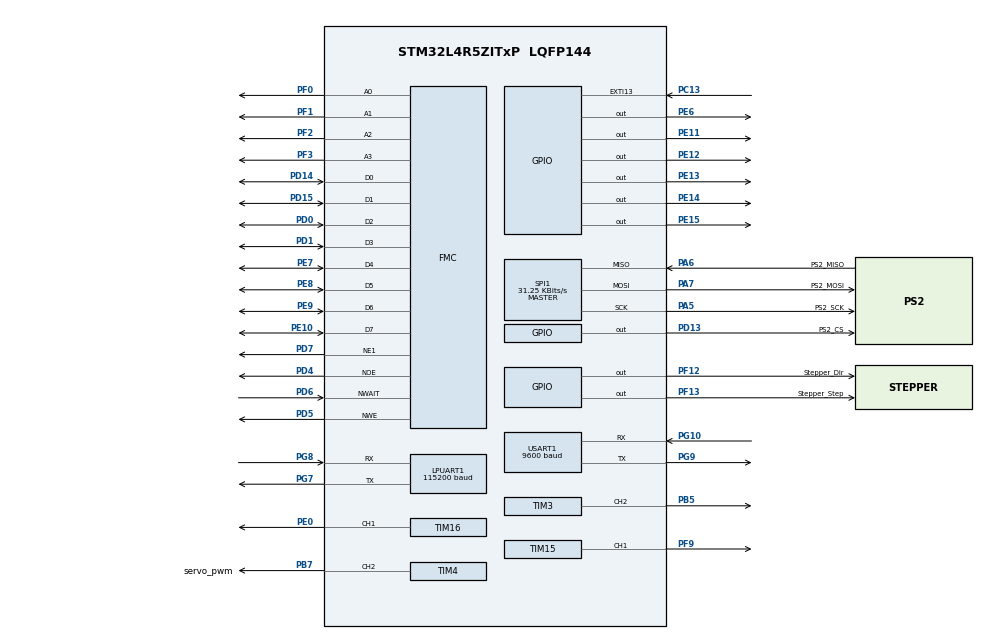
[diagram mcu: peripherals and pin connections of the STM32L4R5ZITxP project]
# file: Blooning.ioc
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FMC.WriteOperation1=FMC_WRITE_OPERATION_ENABLE
LPUART1.BaudRate=115200
LPUART1.WordLength=UART_WORDLENGTH_8B
Mcu.Family=STM32L4
Mcu.Name=STM32L4R5ZITxP
Mcu.Package=LQFP144
NVIC.EXTI15_10_IRQn=true\:0\:0\:false\:false\:true\:true\:true\:true
NVIC.PriorityGroup=NVIC_PRIORITYGROUP_4
NVIC.TIM2_IRQn=true\:0\:0\:false\:false\:true\:true\:true\:true
PA5.GPIO_Label=PS2_SCK
PA5.GPIO_PuPd=GPIO_PULLUP
PA5.Mode=Full_Duplex_Master
PA5.Signal=SPI1_SCK
PA6.GPIO_Label=PS2_MISO
PA6.GPIO_PuPd=GPIO_PULLUP
PA6.Mode=Full_Duplex_Master
PA6.Signal=SPI1_MISO
PA7.GPIO_Label=PS2_MOSI
PA7.Mode=Full_Duplex_Master
PA7.Signal=SPI1_MOSI
PB5.Signal=S_TIM3_CH2
PB7.GPIO_Label=servo_pwm
PB7.Signal=S_TIM4_CH2
PC13.GPIO_ModeDefaultEXTI=GPIO_MODE_IT_RISING
PC13.Signal=GPXTI13
PD0.Signal=FMC_D2_DA2
PD1.Signal=FMC_D3_DA3
PD13.GPIO_Label=PS2_CS
PD13.GPIO_PuPd=GPIO_PULLUP
PD13.Signal=GPIO_Output
PD14.Signal=FMC_D0_DA0
PD15.Signal=FMC_D1_DA1
PD4.Signal=FMC_NOE
PD5.Signal=FMC_NWE
PD6.GPIO_PuPd=GPIO_PULLUP
PD6.Signal=FMC_NWAIT
PD7.Mode=NorPsramChipSelect1_1
PD7.Signal=FMC_NE1
PE0.Signal=S_TIM16_CH1
PE10.Signal=FMC_D7_DA7
PE11.Signal=GPIO_Output
PE12.GPIO_PuPd=GPIO_NOPULL
PE12.Signal=GPIO_Output
PE13.GPIO_PuPd=GPIO_NOPULL
PE13.Signal=GPIO_Output
PE14.GPIO_PuPd=GPIO_NOPULL
PE14.Signal=GPIO_Output
PE15.GPIO_PuPd=GPIO_PULLDOWN
PE15.Signal=GPIO_Output
PE6.Signal=GPIO_Output
PE7.Signal=FMC_D4_DA4
PE8.Signal=FMC_D5_DA5
PE9.Signal=FMC_D6_DA6
PF0.Signal=FMC_A0
PF1.Signal=FMC_A1
PF12.GPIO_Label=Stepper_Dir
PF12.Signal=GPIO_Output
PF13.GPIO_Label=Stepper_Step
PF13.Signal=GPIO_Output
PF2.Signal=FMC_A2
PF3.Signal=FMC_A3
PF9.Signal=S_TIM15_CH1
PG10.Mode=Asynchronous
PG10.Signal=USART1_RX
PG7.Mode=Asynchronous
PG7.Signal=LPUART1_TX
PG8.Mode=Asynchronous
PG8.Signal=LPUART1_RX
PG9.Mode=Asynchronous
PG9.Signal=USART1_TX
ProjectManager.HeapSize=0x200
ProjectManager.StackSize=0x400
ProjectManager.TargetToolchain=STM32CubeIDE
RCC.HSE_VALUE=8000000
RCC.HSI48_VALUE=48000000
RCC.HSI_VALUE=16000000
RCC.LSE_VALUE=32768
RCC.MSI_VALUE=4000000
RCC.VCOOutputFreq_Value=32000000
SH.FMC_A0.0=FMC_A0,4b-a1
SH.FMC_A1.0=FMC_A1,4b-a1
SH.FMC_A2.0=FMC_A2,4b-a1
SH.FMC_A3.0=FMC_A3,4b-a1
SH.FMC_D0_DA0.0=FMC_D0,8b-d1
SH.FMC_D1_DA1.0=FMC_D1,8b-d1
SH.FMC_D2_DA2.0=FMC_D2,8b-d1
SH.FMC_D3_DA3.0=FMC_D3,8b-d1
SH.FMC_D4_DA4.0=FMC_D4,8b-d1
SH.FMC_D5_DA5.0=FMC_D5,8b-d1
SH.FMC_D6_DA6.0=FMC_D6,8b-d1
SH.FMC_D7_DA7.0=FMC_D7,8b-d1
SH.FMC_NOE.0=FMC_NOE,NorFlash1
SH.FMC_NWAIT.0=FMC_NWAIT,AsynchronousWait1
SH.FMC_NWE.0=FMC_NWE,NorFlash1
SH.S_TIM15_CH1.0=TIM15_CH1,PWM Generation1 CH1
SH.S_TIM16_CH1.0=TIM16_CH1,PWM Generation1 CH1
SH.S_TIM3_CH2.0=TIM3_CH2,PWM Generation2 CH2
SH.S_TIM4_CH2.0=TIM4_CH2,PWM Generation2 CH2
SPI1.BaudRatePrescaler=SPI_BAUDRATEPRESCALER_128
SPI1.CLKPhase=SPI_PHASE_2EDGE
SPI1.CLKPolarity=SPI_POLARITY_HIGH
SPI1.CalculateBaudRate=31.25 KBits/s
SPI1.DataSize=SPI_DATASIZE_8BIT
SPI1.Direction=SPI_DIRECTION_2LINES
SPI1.FirstBit=SPI_FIRSTBIT_LSB
SPI1.Mode=SPI_MODE_MASTER
SPI1.VirtualType=VM_MASTER
TIM15.Channel-PWM\ Generation1\ CH1=TIM_CHANNEL_1
TIM15.Period=1999
TIM15.Prescaler=39
TIM16.Channel=TIM_CHANNEL_1
TIM16.Period=1999
TIM16.Prescaler=39
TIM2.AutoReloadPreload=TIM_AUTORELOAD_PRELOAD_ENABLE
TIM3.AutoReloadPreload=TIM_AUTORELOAD_PRELOAD_ENABLE
TIM3.Channel-PWM\ Generation2\ CH2=TIM_CHANNEL_2
TIM3.Period=3999
TIM3.Pulse-PWM\ Generation2\ CH2=1000
TIM3.TIM_MasterOutputTrigger=TIM_TRGO_UPDATE
TIM3.TIM_MasterSlaveMode=TIM_MASTERSLAVEMODE_DISABLE
TIM4.Channel-PWM\ Generation2\ CH2=TIM_CHANNEL_2
TIM4.Period=1999
TIM4.Prescaler=39
USART1.BaudRate=9600
USART1.VirtualMode-Asynchronous=VM_ASYNC
VP_TIM15_VS_ClockSourceINT.Mode=Internal
VP_TIM16_VS_ClockSourceINT.Mode=Enable_Timer
VP_TIM2_VS_ClockSourceITR.Mode=TriggerSource_ITR2
VP_TIM2_VS_ControllerModeClock.Mode=Clock Mode
VP_TIM3_VS_ClockSourceINT.Mode=Internal
VP_TIM4_VS_ClockSourceINT.Mode=Internal
board=NUCLEO-L4R5ZI-P

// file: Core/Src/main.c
/* USER CODE BEGIN Header */
/**
  ******************************************************************************
  * @file           : main.c
  * @brief          : Main program body
  ******************************************************************************
  * @attention
  *
  * Copyright (c) 2025 STMicroelectronics.
  * All rights reserved.
  *
  * This software is licensed under terms that can be found in the LICENSE file
  * in the root directory of this software component.
  * If no LICENSE file comes with this software, it is provided AS-IS.
  *
  ******************************************************************************
  */
/* USER CODE END Header */
#include "main.h"

/* USER CODE BEGIN Includes */
#include "stdio.h"
#include "string.h"
#include "stepper_pwm.h"
#include "stdlib.h"
#include <stdlib.h>
/* USER CODE END Includes */

UART_HandleTypeDef hlpuart1;
UART_HandleTypeDef huart1;

SPI_HandleTypeDef hspi1;

TIM_HandleTypeDef htim2;
TIM_HandleTypeDef htim3;
TIM_HandleTypeDef htim4;
TIM_HandleTypeDef htim15;
TIM_HandleTypeDef htim16;

NOR_HandleTypeDef hnor1;

/* USER CODE BEGIN PV */
#pragma pack(1) //do not pad inside struct
struct coord{
	char color;
	uint8_t x;
	uint8_t y;
};
#pragma pack() //restore default packing

int coord_cnt;

int change_mode = 1; //Track if the mode is changed

struct coord coord_list[255];
enum TurretMode {
	AUTO_RBG, //slowest to fastest (IN GAME)
	AUTO_GBR, // fastest to slowest (IN_GAME)
	MANUAL, // use ps2 controller
	RELOAD
};

enum color {
	RED=3,GREEN=2,BLUE=1
};

int cartridge_state = 0;
int c_count = 0;
char prev_c = 0;

enum TurretMode current_mode = MANUAL;
enum TurretMode mode_before_reload;

uint8_t stepper_active = 0; //0 = stepper pwm is off, 1 = stepper pwm is on
int current_pitch = PITCH_REST;
int enter_reload_from_auto = 0;

char RBG_Prios [3] = {'R','B','G'};
char GBR_Prios [3] = {'G','B','R'};
/* USER CODE END PV */

void SystemClock_Config(void);
static void MX_GPIO_Init(void);
static void MX_LPUART1_UART_Init(void);
static void MX_TIM4_Init(void);
static void MX_SPI1_Init(void);
static void MX_USART1_UART_Init(void);
static void MX_TIM3_Init(void);
static void MX_TIM2_Init(void);
static void MX_TIM15_Init(void);
static void MX_TIM16_Init(void);
static void MX_FMC_Init(void);

/* USER CODE BEGIN 0 */

//This is a helper function, if you want to mess with the servo, use the set_pitch function
void set_tim4_ccr2(uint16_t val){
	uint32_t * tim4_ccr2 = (uint32_t *)(TIM4_ADDR + TIM_CCR2_OFFSET);
	*tim4_ccr2 &= ~CCR_MASK;
	*tim4_ccr2 |= (uint16_t) val;
}

// arg should be from 0 to 90
void set_pitch(int degrees_from_level){
        // servo is on unsidedown
        // writing it like this makes my sanity exist
        degrees_from_level = 180 - degrees_from_level;
	set_tim4_ccr2(degrees_from_level);
}

// this function is to control the angle on the servo that controls the trigger
//degrees should be 0 to 180
void set_trigger_angle(int degrees){
	int val = degrees*(SERVO_MAX-SERVO_MIN)/180 + SERVO_MIN;
	TIM15->CCR1 = val;
}

// this function is to control the angle on the servo that controls the cartridge
//degrees should be 0 to 180
void set_cartridge_angle(int degrees){
	int val = degrees*(SERVO_MAX-SERVO_MIN)/180 + SERVO_MIN;
	TIM16->CCR1 = val;
}

void read_coords(){
	unsigned char *tx_buf = "request\n";
	while(stepper_active){
		continue;
	}
	// after we are done moving give the RPI time to recompute
	HAL_UART_Transmit(&huart1, tx_buf, 8, 1000);
	uint8_t cnt_rx;
	HAL_UART_Receive(&huart1, &cnt_rx, 1, 1000);
	coord_cnt = cnt_rx;
	if(coord_cnt > 20)
		coord_cnt = 20;
	HAL_UART_Receive(&huart1, coord_list, coord_cnt*3, 500); // color, x, y

}

//INTERRUPT HANDLER
void HAL_GPIO_EXTI_Callback(uint16_t GPIO_Pin){
    if(GPIO_Pin == GPIO_PIN_13){
    	reset_prios();
        //USER BUTTON WAS PRESSED
        int speed = 50000; //button is debouncing :)
        for(int i = 0; i < speed; i++){
            continue; //can't use HAL_DELAY since SYS_Tick interrupt priority is low
        }
        if(current_mode == RELOAD){
            current_mode = mode_before_reload;
            change_mode = 1;
        }
        else{
            current_mode = (current_mode + 1) % 3; //cycle modes
            change_mode = 1; //Mode was changed so LCD needs to be updated
        }
        uint32_t *p = EXTI_ADDR 	+ EXTI_PR_OFFSET;
        *p |= (1<<13); //clear interrupt pending
    }
}

/*
 * takes x and y between 0 and 255
 */
void draw_circle(uint8_t x, uint8_t y, char c){
	enum color col;
	if(c == 'R')
		col = RED;
	else if (c == 'B')
		col = BLUE;
	else
		col = GREEN;
	uint16_t scaled_x = ((uint64_t)x*5)>>1;
	uint16_t scaled_y = ((uint64_t)y*15)>>3;
	uint8_t x_lower = (uint8_t)(scaled_x & 0xFF);
	uint8_t x_upper = (uint8_t)(scaled_x >> 8);
	uint8_t y_lower = (uint8_t)(scaled_y & 0xFF);
	uint8_t y_upper = (uint8_t)(scaled_y >> 8);

	*((uint8_t *)VGA_COLOR_ADDR) = col;
	*((uint8_t *)VGA_Y_UPPER_ADDR) = y_upper;
	*((uint8_t *)VGA_Y_LOWER_ADDR) = y_lower;
	*((uint8_t *)VGA_X_UPPER_ADDR) = x_upper;
	*((uint8_t *)VGA_X_LOWER_ADDR) = x_lower;
}

void manual_control(void){
	//TODO: make this a function lcd stuff
	//static int displayed = 1;
	if (change_mode){
		lcd_display();
	}

	printf("MODE: MANUAL \n\r");
	static uint8_t PSX_RX[21];
	static uint8_t PSX_TX[21] = {
		 0x01, 0x42, 0x00, 0x00, 0x00, 0x00, 0x00, 0x00,
		 0x00, 0x00, 0x00, 0x00, 0x00, 0x00, 0x00, 0x00,
		 0x00, 0x00, 0x00, 0x00, 0x00
	 };
   // Get state of all buttons and store it in PSX_RX (Transmission length 21)
   HAL_GPIO_WritePin(PS2_CS_GPIO_Port, PS2_CS_Pin, GPIO_PIN_RESET); // CS LOW
   HAL_SPI_TransmitReceive(&hspi1, PSX_TX, PSX_RX, 21, 10);
   HAL_GPIO_WritePin(PS2_CS_GPIO_Port, PS2_CS_Pin, GPIO_PIN_SET); // CS HIGH

   // get state of d-pad and X button
   int dpad_status = ~PSX_RX[3];
   int dpad_up = dpad_status & DPAD_UP_MASK;
   int dpad_down = dpad_status & DPAD_DOWN_MASK;
   int dpad_left = dpad_status & DPAD_LEFT_MASK;
   int dpad_right = dpad_status & DPAD_RIGHT_MASK;

   int button_status = ~PSX_RX[4];
   int button_x = button_status & BUTTON_X_MASK;
   int button_y = button_status & BUTTON_Y_MASK;

   //note that they will not be 1 or 0, they will be 0 or positive int
   if(dpad_up){
	   if(current_pitch < PITCH_MAX){
		   current_pitch+=1;
		   set_pitch(current_pitch);
		   HAL_Delay(10);
	   }

   }
   if(dpad_down){
	   if(current_pitch > PITCH_MIN){
		   current_pitch-=1;
		   set_pitch(current_pitch);
		   HAL_Delay(10);
	   }

   }
   if(dpad_left){
	   HAL_GPIO_WritePin(Stepper_Dir_GPIO_Port,Stepper_Dir_Pin,STEP_CW); //set the direction of the step
	   start_pwm_N_steps(DPAD_STEPS);
   }
   if(dpad_right){
	   HAL_GPIO_WritePin(Stepper_Dir_GPIO_Port,Stepper_Dir_Pin,STEP_CCW); //set the direction of the step
	   start_pwm_N_steps(DPAD_STEPS);
   }

   if(button_x){
	   shoot();
	   HAL_Delay(400);
   }
    if (button_y) {
        reload();
        HAL_Delay(400);
    }

}

// Function to start pwm of stepper motor for N steps
// see TIM2_IRQHandler for interrupt handler related to this functionality
void start_pwm_N_steps(uint32_t N){
	if(N == 0){
		return; //this would explode
	}
	//stop pwm
	HAL_TIM_PWM_Stop(&htim3, TIM_CHANNEL_2);
	HAL_TIM_Base_Stop(&htim2);
	__HAL_TIM_SetCounter(&htim2, 0);

    // clear any pending interrupts
    __HAL_TIM_DISABLE_IT(&htim2, TIM_IT_UPDATE);
    __HAL_TIM_CLEAR_FLAG(&htim2, TIM_SR_UIF);

	//configure tim2 to count N periods
	htim2.Instance = TIM2;
	htim2.Init.Prescaler = 0;
	htim2.Init.CounterMode = TIM_COUNTERMODE_UP;
	htim2.Init.Period = N;  // Interrupt after N+1 periods
	htim2.Init.AutoReloadPreload = TIM_AUTORELOAD_PRELOAD_ENABLE;
	if(HAL_TIM_Base_Init(&htim2) != HAL_OK){
		Error_Handler(); //debug
	}

	// enable tim2 interrupt that will turn pwm off
	HAL_NVIC_SetPriority(TIM2_IRQn, 0, 0);
	__HAL_TIM_ENABLE_IT(&htim2, TIM_IT_UPDATE);
	HAL_NVIC_EnableIRQ(TIM2_IRQn);

	// start stepper pwm
	stepper_active = 1;
	HAL_TIM_PWM_Start(&htim3, TIM_CHANNEL_2);
	HAL_TIM_Base_Start(&htim2);

	//debug force update
	//TIM2->EGR = TIM_EGR_UG;
}

// Use macro MOTOR_FULL_ROTATION_STEPS
int calculate_rotation(int x, int* dir){
	if(x < CAMERA_MID){
		*dir = STEP_CW;
	}
	else{
		*dir = STEP_CCW;
	}
	int offset = abs(x-CAMERA_MID);
	if(offset < ON_TARGET){
		return offset;
	}

	float degrees_to_step = 45/(1 + pow(2.7182, (-0.1*(offset-54))));
	int num_steps = MOTOR_FULL_ROTATION_STEPS*degrees_to_step/360;
	return num_steps/3;
}

//should be negative is appropriate
int calculate_pitch_change(int y){
    int diff = (CAMERA_MID - y);
    float scale = 0.08*(PITCH_MAX-PITCH_MIN)/(1+pow(2.7182, -0.05*(abs(diff)-39)));
    int res = 0;
    if (diff > 5) {
        // Move up
        res = current_pitch >= PITCH_MAX ? 0 : (int)scale;
    }
    else if(diff < -5){
        // Move down
        res = current_pitch <= PITCH_MIN ? 0 : -(int)(0.8*scale);
    }
    return res;
}

void aim_at_coords(int x, int y, char c){
	//calculate rotation

	draw_circle(x, y, c);

    static int locked = 0;
    if (abs(x - CAMERA_MID) <= H_SHOOT_RAD && abs(y - CAMERA_MID) <= V_SHOOT_RAD ) {
        locked++;
        if (locked >3) {
            shoot();
            locked = 0;
        }
        return;
    }
    locked = 0;

	int dir;
	int n_steps = calculate_rotation(x,&dir);
	printf("nsteps = %d \n\r",n_steps);
	current_pitch += calculate_pitch_change(y);

	//aim
	HAL_GPIO_WritePin(Stepper_Dir_GPIO_Port,Stepper_Dir_Pin,dir); //set the direction of the step
	if(n_steps){
		start_pwm_N_steps(n_steps);
	}
	set_pitch(current_pitch);
}

int color_lock(char c){
	//if color lock then return
	if (c != prev_c){
		if (c_count >= 8){
			c_count = 0;
			prev_c = c;
			return 1;
		}
		return 0;
	}
	return 1;
}

void automatic_mode(){
	if(change_mode){
		lcd_display();
	}

	read_coords();
	printf("N coords received = %d \n\r", coord_cnt);
	for(int prio = 0; prio < sizeof(RBG_Prios); prio++){
		for(int i = 0; i < coord_cnt; i++){
			printf("color = %c, x = %d, y = %d \n\r ",coord_list[i].color,coord_list[i].x,coord_list[i].y);
			switch (current_mode){
			case AUTO_GBR:
				if(coord_list[i].color == GBR_Prios[prio]){
					printf("aiming\n\r");
					if(!color_lock(coord_list[i].color)) continue;
					aim_at_coords(coord_list[i].x + CAMERA_X_OFFSET,coord_list[i].y, coord_list[i].color);
					goto done_aiming;
				}
				break;
			case AUTO_RBG:
				if(coord_list[i].color == RBG_Prios[prio]){
					printf("aiming\n\r");
					if(!color_lock(coord_list[i].color)) continue;
					aim_at_coords(coord_list[i].x + CAMERA_X_OFFSET,coord_list[i].y, coord_list[i].color);
					goto done_aiming;
				}
				break;
			default:
				printf("turret mode error\n\r");
				return;
			}

		}
	}
done_aiming:
	static int zeros_seen = 0;
	if(coord_cnt == 0){ // no blooners on camera, reset priorities
		zeros_seen++;
		if (zeros_seen == 10){
			reset_prios();
			zeros_seen = 0;
		}
	}
	else{
		zeros_seen = 0;
		int need_to_count = 1;
		for (int i = 0; i < coord_cnt; i++){
			if (coord_list[i].color == prev_c){
				need_to_count = 0;
			}
		}
		if (need_to_count){
			c_count++;
		}
	}

	coord_cnt = 0;
	memset(coord_list, 0, sizeof(coord_list));
	HAL_Delay(200);
}

void reload(void){
    mode_before_reload = current_mode;
    current_mode = RELOAD;
    set_cartridge_angle(CARTRIDGE_START);
    int bands = MAX_RUBBER_BANDS - cartridge_state;
    char l2[100];
    snprintf(l2, sizeof(l2), "Bands Left: %d", bands);
    LCD_WriteLines("Mode: RELOAD", l2);
    cartridge_state = 0;
    reset_prios();
    return;
}

void shoot(void){
	//Shoot
	set_trigger_angle(TRIGGER_SHOOT);
	HAL_Delay(1100);
	set_trigger_angle(TRIGGER_REST);
	HAL_Delay(1100);

	//Get next rubber band in position
	cartridge_state++;
	if(cartridge_state == MAX_RUBBER_BANDS){ //if out of bands, reload
            reload();
            return;
	}
	//TODO make this a function
	lcd_display();

	set_cartridge_angle(CARTRIDGE_ANGLE*cartridge_state+CARTRIDGE_OFFSET);
	rotate_prios();
	prev_c = 0;
	c_count = 0;
	return;
}

void reload_done_check(void){
	static uint8_t PSX_RX[21];
	static uint8_t PSX_TX[21] = {
		 0x01, 0x42, 0x00, 0x00, 0x00, 0x00, 0x00, 0x00,
		 0x00, 0x00, 0x00, 0x00, 0x00, 0x00, 0x00, 0x00,
		 0x00, 0x00, 0x00, 0x00, 0x00
	 };
     // Get state of all buttons and store it in PSX_RX (Transmission length 21)
     HAL_GPIO_WritePin(PS2_CS_GPIO_Port, PS2_CS_Pin, GPIO_PIN_RESET); // CS LOW
     HAL_SPI_TransmitReceive(&hspi1, PSX_TX, PSX_RX, 21, 10);
     HAL_GPIO_WritePin(PS2_CS_GPIO_Port, PS2_CS_Pin, GPIO_PIN_SET); // CS HIGH

     int button_status = ~PSX_RX[4];
     int button_y = button_status & BUTTON_Y_MASK;

	 if(button_y){
		HAL_Delay(200);
		current_mode = mode_before_reload;
		change_mode = 1;
	 }
	 return;
}

void lcd_display(void){
	if (current_mode == MANUAL){ //UPDATING RUBBERBAND COUNTS
		int bands = MAX_RUBBER_BANDS - cartridge_state;
		char l2[100];
		snprintf(l2, sizeof(l2), "Bands Left: %d", bands);
		LCD_WriteLines("Mode: MANUAL", l2);
	}
	if(current_mode == AUTO_GBR){
		int bands = MAX_RUBBER_BANDS - cartridge_state;
		char l2[100];
		snprintf(l2, sizeof(l2), "Bands Left: %d", bands);
		LCD_WriteLines("Mode: GBR", l2);
	}
	if(current_mode == AUTO_RBG){
		int bands = MAX_RUBBER_BANDS - cartridge_state;
		char l2[100];
		snprintf(l2, sizeof(l2), "Bands Left: %d", bands);
		LCD_WriteLines("Mode: RBG", l2);
	}
	change_mode = 0;
}

void reset_prios(void){
	GBR_Prios[0] = 'G';
	GBR_Prios[1] = 'B';
	GBR_Prios[2] = 'R';
	RBG_Prios[0] = 'R';
	RBG_Prios[1] = 'B';
	RBG_Prios[2] = 'G';
}

void rotate_prios(void){
	char tmp = GBR_Prios[0];
	GBR_Prios[0] = GBR_Prios[1];
	GBR_Prios[1] = GBR_Prios[2];
	GBR_Prios[2] = tmp;

	tmp = RBG_Prios[0];
	RBG_Prios[0] = RBG_Prios[1];
	RBG_Prios[1] = RBG_Prios[2];
	RBG_Prios[2] = tmp;
}

/* USER CODE END 0 */

int main(void)
{

  /* MCU Configuration--------------------------------------------------------*/

  /* Reset of all peripherals, Initializes the Flash interface and the Systick. */
  HAL_Init();

  /* Configure the system clock */
  SystemClock_Config();

  /* Initialize all configured peripherals */
  MX_GPIO_Init();
  MX_LPUART1_UART_Init();
  MX_TIM4_Init();
  MX_SPI1_Init();
  MX_USART1_UART_Init();
  MX_TIM3_Init();
  MX_TIM2_Init();
  MX_TIM15_Init();
  MX_TIM16_Init();
  MX_FMC_Init();
  /* USER CODE BEGIN 2 */
  LCD_Init();
  {
  TIM_ClockConfigTypeDef sClockSourceConfig = {0};
  htim3.Init.Prescaler = STEPPER_PRESCALER;
  htim3.Init.Period = STEPPER_SPEED;
  if (HAL_TIM_Base_Init(&htim3) != HAL_OK)
  {
	  Error_Handler();
  }
  	  sClockSourceConfig.ClockSource = TIM_CLOCKSOURCE_INTERNAL;
  if (HAL_TIM_ConfigClockSource(&htim3, &sClockSourceConfig) != HAL_OK)
  {
      Error_Handler();
  }
  }
  /* USER CODE END 2 */

  /* Infinite loop */
  /* USER CODE BEGIN WHILE */
  HAL_TIM_PWM_Start(&htim4, TIM_CHANNEL_2); //servo pwm
  HAL_TIM_PWM_Start(&htim15, TIM_CHANNEL_1); //trigger pwm
  HAL_TIM_PWM_Start(&htim16, TIM_CHANNEL_1); //cartridge pwm
  //initialize the servo with to be level with ground
  set_pitch(PITCH_REST);
  set_trigger_angle(TRIGGER_REST);
  set_cartridge_angle(CARTRIDGE_START);

  //set_cartridge_angle(5);
  while (1)
  {
	  if(current_mode == MANUAL){
		  manual_control();
	  }
	  else if (current_mode == RELOAD){
		  reload_done_check();
	  }
	  else if (current_mode == AUTO_GBR || current_mode == AUTO_RBG){
		  automatic_mode();
	  }
    /* USER CODE END WHILE */

  }
}

void SystemClock_Config(void)
{
  RCC_OscInitTypeDef RCC_OscInitStruct = {0};
  RCC_ClkInitTypeDef RCC_ClkInitStruct = {0};

  /** Configure the main internal regulator output voltage
  */
  if (HAL_PWREx_ControlVoltageScaling(PWR_REGULATOR_VOLTAGE_SCALE1) != HAL_OK)
  {
    Error_Handler();
  }

  /** Initializes the RCC Oscillators according to the specified parameters
  * in the RCC_OscInitTypeDef structure.
  */
  RCC_OscInitStruct.OscillatorType = RCC_OSCILLATORTYPE_MSI;
  RCC_OscInitStruct.MSIState = RCC_MSI_ON;
  RCC_OscInitStruct.MSICalibrationValue = 0;
  RCC_OscInitStruct.MSIClockRange = RCC_MSIRANGE_6;
  RCC_OscInitStruct.PLL.PLLState = RCC_PLL_NONE;
  if (HAL_RCC_OscConfig(&RCC_OscInitStruct) != HAL_OK)
  {
    Error_Handler();
  }

  /** Initializes the CPU, AHB and APB buses clocks
  */
  RCC_ClkInitStruct.ClockType = RCC_CLOCKTYPE_HCLK|RCC_CLOCKTYPE_SYSCLK
                              |RCC_CLOCKTYPE_PCLK1|RCC_CLOCKTYPE_PCLK2;
  RCC_ClkInitStruct.SYSCLKSource = RCC_SYSCLKSOURCE_MSI;
  RCC_ClkInitStruct.AHBCLKDivider = RCC_SYSCLK_DIV1;
  RCC_ClkInitStruct.APB1CLKDivider = RCC_HCLK_DIV1;
  RCC_ClkInitStruct.APB2CLKDivider = RCC_HCLK_DIV1;

  if (HAL_RCC_ClockConfig(&RCC_ClkInitStruct, FLASH_LATENCY_0) != HAL_OK)
  {
    Error_Handler();
  }
}

static void MX_LPUART1_UART_Init(void)
{

  hlpuart1.Instance = LPUART1;
  hlpuart1.Init.BaudRate = 115200;
  hlpuart1.Init.WordLength = UART_WORDLENGTH_8B;
  hlpuart1.Init.StopBits = UART_STOPBITS_1;
  hlpuart1.Init.Parity = UART_PARITY_NONE;
  hlpuart1.Init.Mode = UART_MODE_TX_RX;
  hlpuart1.Init.HwFlowCtl = UART_HWCONTROL_NONE;
  hlpuart1.Init.OneBitSampling = UART_ONE_BIT_SAMPLE_DISABLE;
  hlpuart1.Init.ClockPrescaler = UART_PRESCALER_DIV1;
  hlpuart1.AdvancedInit.AdvFeatureInit = UART_ADVFEATURE_NO_INIT;
  hlpuart1.FifoMode = UART_FIFOMODE_DISABLE;
  if (HAL_UART_Init(&hlpuart1) != HAL_OK)
  {
    Error_Handler();
  }
  if (HAL_UARTEx_SetTxFifoThreshold(&hlpuart1, UART_TXFIFO_THRESHOLD_1_8) != HAL_OK)
  {
    Error_Handler();
  }
  if (HAL_UARTEx_SetRxFifoThreshold(&hlpuart1, UART_RXFIFO_THRESHOLD_1_8) != HAL_OK)
  {
    Error_Handler();
  }
  if (HAL_UARTEx_DisableFifoMode(&hlpuart1) != HAL_OK)
  {
    Error_Handler();
  }

}

static void MX_USART1_UART_Init(void)
{

  huart1.Instance = USART1;
  huart1.Init.BaudRate = 9600;
  huart1.Init.WordLength = UART_WORDLENGTH_8B;
  huart1.Init.StopBits = UART_STOPBITS_1;
  huart1.Init.Parity = UART_PARITY_NONE;
  huart1.Init.Mode = UART_MODE_TX_RX;
  huart1.Init.HwFlowCtl = UART_HWCONTROL_NONE;
  huart1.Init.OverSampling = UART_OVERSAMPLING_16;
  huart1.Init.OneBitSampling = UART_ONE_BIT_SAMPLE_DISABLE;
  huart1.Init.ClockPrescaler = UART_PRESCALER_DIV1;
  huart1.AdvancedInit.AdvFeatureInit = UART_ADVFEATURE_NO_INIT;
  if (HAL_UART_Init(&huart1) != HAL_OK)
  {
    Error_Handler();
  }
  if (HAL_UARTEx_SetTxFifoThreshold(&huart1, UART_TXFIFO_THRESHOLD_1_8) != HAL_OK)
  {
    Error_Handler();
  }
  if (HAL_UARTEx_SetRxFifoThreshold(&huart1, UART_RXFIFO_THRESHOLD_1_8) != HAL_OK)
  {
    Error_Handler();
  }
  if (HAL_UARTEx_DisableFifoMode(&huart1) != HAL_OK)
  {
    Error_Handler();
  }

}

static void MX_SPI1_Init(void)
{

  /* SPI1 parameter configuration*/
  hspi1.Instance = SPI1;
  hspi1.Init.Mode = SPI_MODE_MASTER;
  hspi1.Init.Direction = SPI_DIRECTION_2LINES;
  hspi1.Init.DataSize = SPI_DATASIZE_8BIT;
  hspi1.Init.CLKPolarity = SPI_POLARITY_HIGH;
  hspi1.Init.CLKPhase = SPI_PHASE_2EDGE;
  hspi1.Init.NSS = SPI_NSS_SOFT;
  hspi1.Init.BaudRatePrescaler = SPI_BAUDRATEPRESCALER_128;
  hspi1.Init.FirstBit = SPI_FIRSTBIT_LSB;
  hspi1.Init.TIMode = SPI_TIMODE_DISABLE;
  hspi1.Init.CRCCalculation = SPI_CRCCALCULATION_DISABLE;
  hspi1.Init.CRCPolynomial = 7;
  hspi1.Init.CRCLength = SPI_CRC_LENGTH_DATASIZE;
  hspi1.Init.NSSPMode = SPI_NSS_PULSE_DISABLE;
  if (HAL_SPI_Init(&hspi1) != HAL_OK)
  {
    Error_Handler();
  }

}

static void MX_TIM2_Init(void)
{

  TIM_SlaveConfigTypeDef sSlaveConfig = {0};
  TIM_MasterConfigTypeDef sMasterConfig = {0};

  htim2.Instance = TIM2;
  htim2.Init.Prescaler = 0;
  htim2.Init.CounterMode = TIM_COUNTERMODE_UP;
  htim2.Init.Period = 4294967295;
  htim2.Init.ClockDivision = TIM_CLOCKDIVISION_DIV1;
  htim2.Init.AutoReloadPreload = TIM_AUTORELOAD_PRELOAD_ENABLE;
  if (HAL_TIM_Base_Init(&htim2) != HAL_OK)
  {
    Error_Handler();
  }
  sSlaveConfig.SlaveMode = TIM_SLAVEMODE_EXTERNAL1;
  sSlaveConfig.InputTrigger = TIM_TS_ITR2;
  if (HAL_TIM_SlaveConfigSynchro(&htim2, &sSlaveConfig) != HAL_OK)
  {
    Error_Handler();
  }
  sMasterConfig.MasterOutputTrigger = TIM_TRGO_RESET;
  sMasterConfig.MasterSlaveMode = TIM_MASTERSLAVEMODE_DISABLE;
  if (HAL_TIMEx_MasterConfigSynchronization(&htim2, &sMasterConfig) != HAL_OK)
  {
    Error_Handler();
  }

}

static void MX_TIM3_Init(void)
{

  TIM_ClockConfigTypeDef sClockSourceConfig = {0};
  TIM_MasterConfigTypeDef sMasterConfig = {0};
  TIM_OC_InitTypeDef sConfigOC = {0};

  htim3.Instance = TIM3;
  htim3.Init.Prescaler = 0;
  htim3.Init.CounterMode = TIM_COUNTERMODE_UP;
  htim3.Init.Period = 3999;
  htim3.Init.ClockDivision = TIM_CLOCKDIVISION_DIV1;
  htim3.Init.AutoReloadPreload = TIM_AUTORELOAD_PRELOAD_ENABLE;
  if (HAL_TIM_Base_Init(&htim3) != HAL_OK)
  {
    Error_Handler();
  }
  sClockSourceConfig.ClockSource = TIM_CLOCKSOURCE_INTERNAL;
  if (HAL_TIM_ConfigClockSource(&htim3, &sClockSourceConfig) != HAL_OK)
  {
    Error_Handler();
  }
  if (HAL_TIM_PWM_Init(&htim3) != HAL_OK)
  {
    Error_Handler();
  }
  sMasterConfig.MasterOutputTrigger = TIM_TRGO_UPDATE;
  sMasterConfig.MasterSlaveMode = TIM_MASTERSLAVEMODE_DISABLE;
  if (HAL_TIMEx_MasterConfigSynchronization(&htim3, &sMasterConfig) != HAL_OK)
  {
    Error_Handler();
  }
  sConfigOC.OCMode = TIM_OCMODE_PWM1;
  sConfigOC.Pulse = 1000;
  sConfigOC.OCPolarity = TIM_OCPOLARITY_HIGH;
  sConfigOC.OCFastMode = TIM_OCFAST_DISABLE;
  if (HAL_TIM_PWM_ConfigChannel(&htim3, &sConfigOC, TIM_CHANNEL_2) != HAL_OK)
  {
    Error_Handler();
  }
  HAL_TIM_MspPostInit(&htim3);

}

static void MX_TIM4_Init(void)
{

  TIM_ClockConfigTypeDef sClockSourceConfig = {0};
  TIM_MasterConfigTypeDef sMasterConfig = {0};
  TIM_OC_InitTypeDef sConfigOC = {0};

  htim4.Instance = TIM4;
  htim4.Init.Prescaler = 39;
  htim4.Init.CounterMode = TIM_COUNTERMODE_UP;
  htim4.Init.Period = 1999;
  htim4.Init.ClockDivision = TIM_CLOCKDIVISION_DIV1;
  htim4.Init.AutoReloadPreload = TIM_AUTORELOAD_PRELOAD_DISABLE;
  if (HAL_TIM_Base_Init(&htim4) != HAL_OK)
  {
    Error_Handler();
  }
  sClockSourceConfig.ClockSource = TIM_CLOCKSOURCE_INTERNAL;
  if (HAL_TIM_ConfigClockSource(&htim4, &sClockSourceConfig) != HAL_OK)
  {
    Error_Handler();
  }
  if (HAL_TIM_PWM_Init(&htim4) != HAL_OK)
  {
    Error_Handler();
  }
  sMasterConfig.MasterOutputTrigger = TIM_TRGO_RESET;
  sMasterConfig.MasterSlaveMode = TIM_MASTERSLAVEMODE_DISABLE;
  if (HAL_TIMEx_MasterConfigSynchronization(&htim4, &sMasterConfig) != HAL_OK)
  {
    Error_Handler();
  }
  sConfigOC.OCMode = TIM_OCMODE_PWM1;
  sConfigOC.Pulse = 0;
  sConfigOC.OCPolarity = TIM_OCPOLARITY_HIGH;
  sConfigOC.OCFastMode = TIM_OCFAST_DISABLE;
  if (HAL_TIM_PWM_ConfigChannel(&htim4, &sConfigOC, TIM_CHANNEL_2) != HAL_OK)
  {
    Error_Handler();
  }
  HAL_TIM_MspPostInit(&htim4);

}

static void MX_TIM15_Init(void)
{

  TIM_ClockConfigTypeDef sClockSourceConfig = {0};
  TIM_MasterConfigTypeDef sMasterConfig = {0};
  TIM_OC_InitTypeDef sConfigOC = {0};
  TIM_BreakDeadTimeConfigTypeDef sBreakDeadTimeConfig = {0};

  htim15.Instance = TIM15;
  htim15.Init.Prescaler = 39;
  htim15.Init.CounterMode = TIM_COUNTERMODE_UP;
  htim15.Init.Period = 1999;
  htim15.Init.ClockDivision = TIM_CLOCKDIVISION_DIV1;
  htim15.Init.RepetitionCounter = 0;
  htim15.Init.AutoReloadPreload = TIM_AUTORELOAD_PRELOAD_DISABLE;
  if (HAL_TIM_Base_Init(&htim15) != HAL_OK)
  {
    Error_Handler();
  }
  sClockSourceConfig.ClockSource = TIM_CLOCKSOURCE_INTERNAL;
  if (HAL_TIM_ConfigClockSource(&htim15, &sClockSourceConfig) != HAL_OK)
  {
    Error_Handler();
  }
  if (HAL_TIM_PWM_Init(&htim15) != HAL_OK)
  {
    Error_Handler();
  }
  sMasterConfig.MasterOutputTrigger = TIM_TRGO_RESET;
  sMasterConfig.MasterSlaveMode = TIM_MASTERSLAVEMODE_DISABLE;
  if (HAL_TIMEx_MasterConfigSynchronization(&htim15, &sMasterConfig) != HAL_OK)
  {
    Error_Handler();
  }
  sConfigOC.OCMode = TIM_OCMODE_PWM1;
  sConfigOC.Pulse = 0;
  sConfigOC.OCPolarity = TIM_OCPOLARITY_HIGH;
  sConfigOC.OCNPolarity = TIM_OCNPOLARITY_HIGH;
  sConfigOC.OCFastMode = TIM_OCFAST_DISABLE;
  sConfigOC.OCIdleState = TIM_OCIDLESTATE_RESET;
  sConfigOC.OCNIdleState = TIM_OCNIDLESTATE_RESET;
  if (HAL_TIM_PWM_ConfigChannel(&htim15, &sConfigOC, TIM_CHANNEL_1) != HAL_OK)
  {
    Error_Handler();
  }
  sBreakDeadTimeConfig.OffStateRunMode = TIM_OSSR_DISABLE;
  sBreakDeadTimeConfig.OffStateIDLEMode = TIM_OSSI_DISABLE;
  sBreakDeadTimeConfig.LockLevel = TIM_LOCKLEVEL_OFF;
  sBreakDeadTimeConfig.DeadTime = 0;
  sBreakDeadTimeConfig.BreakState = TIM_BREAK_DISABLE;
  sBreakDeadTimeConfig.BreakPolarity = TIM_BREAKPOLARITY_HIGH;
  sBreakDeadTimeConfig.AutomaticOutput = TIM_AUTOMATICOUTPUT_DISABLE;
  if (HAL_TIMEx_ConfigBreakDeadTime(&htim15, &sBreakDeadTimeConfig) != HAL_OK)
  {
    Error_Handler();
  }
  HAL_TIM_MspPostInit(&htim15);

}

static void MX_TIM16_Init(void)
{

  TIM_OC_InitTypeDef sConfigOC = {0};
  TIM_BreakDeadTimeConfigTypeDef sBreakDeadTimeConfig = {0};

  htim16.Instance = TIM16;
  htim16.Init.Prescaler = 39;
  htim16.Init.CounterMode = TIM_COUNTERMODE_UP;
  htim16.Init.Period = 1999;
  htim16.Init.ClockDivision = TIM_CLOCKDIVISION_DIV1;
  htim16.Init.RepetitionCounter = 0;
  htim16.Init.AutoReloadPreload = TIM_AUTORELOAD_PRELOAD_DISABLE;
  if (HAL_TIM_Base_Init(&htim16) != HAL_OK)
  {
    Error_Handler();
  }
  if (HAL_TIM_PWM_Init(&htim16) != HAL_OK)
  {
    Error_Handler();
  }
  sConfigOC.OCMode = TIM_OCMODE_PWM1;
  sConfigOC.Pulse = 0;
  sConfigOC.OCPolarity = TIM_OCPOLARITY_HIGH;
  sConfigOC.OCNPolarity = TIM_OCNPOLARITY_HIGH;
  sConfigOC.OCFastMode = TIM_OCFAST_DISABLE;
  sConfigOC.OCIdleState = TIM_OCIDLESTATE_RESET;
  sConfigOC.OCNIdleState = TIM_OCNIDLESTATE_RESET;
  if (HAL_TIM_PWM_ConfigChannel(&htim16, &sConfigOC, TIM_CHANNEL_1) != HAL_OK)
  {
    Error_Handler();
  }
  sBreakDeadTimeConfig.OffStateRunMode = TIM_OSSR_DISABLE;
  sBreakDeadTimeConfig.OffStateIDLEMode = TIM_OSSI_DISABLE;
  sBreakDeadTimeConfig.LockLevel = TIM_LOCKLEVEL_OFF;
  sBreakDeadTimeConfig.DeadTime = 0;
  sBreakDeadTimeConfig.BreakState = TIM_BREAK_DISABLE;
  sBreakDeadTimeConfig.BreakPolarity = TIM_BREAKPOLARITY_HIGH;
  sBreakDeadTimeConfig.AutomaticOutput = TIM_AUTOMATICOUTPUT_DISABLE;
  if (HAL_TIMEx_ConfigBreakDeadTime(&htim16, &sBreakDeadTimeConfig) != HAL_OK)
  {
    Error_Handler();
  }
  HAL_TIM_MspPostInit(&htim16);

}

/* FMC initialization function */
static void MX_FMC_Init(void)
{

  FMC_NORSRAM_TimingTypeDef Timing = {0};

  /** Perform the NOR1 memory initialization sequence
  */
  hnor1.Instance = FMC_NORSRAM_DEVICE;
  hnor1.Extended = FMC_NORSRAM_EXTENDED_DEVICE;
  /* hnor1.Init */
  hnor1.Init.NSBank = FMC_NORSRAM_BANK1;
  hnor1.Init.DataAddressMux = FMC_DATA_ADDRESS_MUX_DISABLE;
  hnor1.Init.MemoryType = FMC_MEMORY_TYPE_NOR;
  hnor1.Init.MemoryDataWidth = FMC_NORSRAM_MEM_BUS_WIDTH_8;
  hnor1.Init.BurstAccessMode = FMC_BURST_ACCESS_MODE_DISABLE;
  hnor1.Init.WaitSignalPolarity = FMC_WAIT_SIGNAL_POLARITY_LOW;
  hnor1.Init.WaitSignalActive = FMC_WAIT_TIMING_BEFORE_WS;
  hnor1.Init.WriteOperation = FMC_WRITE_OPERATION_ENABLE;
  hnor1.Init.WaitSignal = FMC_WAIT_SIGNAL_DISABLE;
  hnor1.Init.ExtendedMode = FMC_EXTENDED_MODE_DISABLE;
  hnor1.Init.AsynchronousWait = FMC_ASYNCHRONOUS_WAIT_ENABLE;
  hnor1.Init.WriteBurst = FMC_WRITE_BURST_DISABLE;
  hnor1.Init.ContinuousClock = FMC_CONTINUOUS_CLOCK_SYNC_ONLY;
  hnor1.Init.WriteFifo = FMC_WRITE_FIFO_ENABLE;
  hnor1.Init.NBLSetupTime = 0;
  hnor1.Init.PageSize = FMC_PAGE_SIZE_NONE;
  /* Timing */
  Timing.AddressSetupTime = 15;
  Timing.AddressHoldTime = 15;
  Timing.DataSetupTime = 255;
  Timing.DataHoldTime = 0;
  Timing.BusTurnAroundDuration = 15;
  Timing.CLKDivision = 16;
  Timing.DataLatency = 17;
  Timing.AccessMode = FMC_ACCESS_MODE_A;
  /* ExtTiming */

  if (HAL_NOR_Init(&hnor1, &Timing, NULL) != HAL_OK)
  {
    Error_Handler( );
  }

}

static void MX_GPIO_Init(void)
{
  GPIO_InitTypeDef GPIO_InitStruct = {0};

  /* GPIO Ports Clock Enable */
  __HAL_RCC_GPIOE_CLK_ENABLE();
  __HAL_RCC_GPIOC_CLK_ENABLE();
  __HAL_RCC_GPIOF_CLK_ENABLE();
  __HAL_RCC_GPIOA_CLK_ENABLE();
  __HAL_RCC_GPIOD_CLK_ENABLE();
  __HAL_RCC_GPIOG_CLK_ENABLE();
  HAL_PWREx_EnableVddIO2();
  __HAL_RCC_GPIOB_CLK_ENABLE();

  /*Configure GPIO pin Output Level */
  HAL_GPIO_WritePin(GPIOE, GPIO_PIN_6|GPIO_PIN_11|GPIO_PIN_12|GPIO_PIN_13
                          |GPIO_PIN_14|GPIO_PIN_15, GPIO_PIN_RESET);

  /*Configure GPIO pin Output Level */
  HAL_GPIO_WritePin(GPIOF, Stepper_Dir_Pin|Stepper_Step_Pin, GPIO_PIN_RESET);

  /*Configure GPIO pin Output Level */
  HAL_GPIO_WritePin(PS2_CS_GPIO_Port, PS2_CS_Pin, GPIO_PIN_RESET);

  /*Configure GPIO pins : PE6 PE11 PE12 PE13
                           PE14 */
  GPIO_InitStruct.Pin = GPIO_PIN_6|GPIO_PIN_11|GPIO_PIN_12|GPIO_PIN_13
                          |GPIO_PIN_14;
  GPIO_InitStruct.Mode = GPIO_MODE_OUTPUT_PP;
  GPIO_InitStruct.Pull = GPIO_NOPULL;
  GPIO_InitStruct.Speed = GPIO_SPEED_FREQ_LOW;
  HAL_GPIO_Init(GPIOE, &GPIO_InitStruct);

  /*Configure GPIO pin : PC13 */
  GPIO_InitStruct.Pin = GPIO_PIN_13;
  GPIO_InitStruct.Mode = GPIO_MODE_IT_RISING;
  GPIO_InitStruct.Pull = GPIO_NOPULL;
  HAL_GPIO_Init(GPIOC, &GPIO_InitStruct);

  /*Configure GPIO pins : Stepper_Dir_Pin Stepper_Step_Pin */
  GPIO_InitStruct.Pin = Stepper_Dir_Pin|Stepper_Step_Pin;
  GPIO_InitStruct.Mode = GPIO_MODE_OUTPUT_PP;
  GPIO_InitStruct.Pull = GPIO_NOPULL;
  GPIO_InitStruct.Speed = GPIO_SPEED_FREQ_LOW;
  HAL_GPIO_Init(GPIOF, &GPIO_InitStruct);

  /*Configure GPIO pin : PE15 */
  GPIO_InitStruct.Pin = GPIO_PIN_15;
  GPIO_InitStruct.Mode = GPIO_MODE_OUTPUT_PP;
  GPIO_InitStruct.Pull = GPIO_PULLDOWN;
  GPIO_InitStruct.Speed = GPIO_SPEED_FREQ_LOW;
  HAL_GPIO_Init(GPIOE, &GPIO_InitStruct);

  /*Configure GPIO pin : PS2_CS_Pin */
  GPIO_InitStruct.Pin = PS2_CS_Pin;
  GPIO_InitStruct.Mode = GPIO_MODE_OUTPUT_PP;
  GPIO_InitStruct.Pull = GPIO_PULLUP;
  GPIO_InitStruct.Speed = GPIO_SPEED_FREQ_LOW;
  HAL_GPIO_Init(PS2_CS_GPIO_Port, &GPIO_InitStruct);

  /* EXTI interrupt init*/
  HAL_NVIC_SetPriority(EXTI15_10_IRQn, 0, 0);
  HAL_NVIC_EnableIRQ(EXTI15_10_IRQn);

}

/* USER CODE BEGIN 4 */
#ifdef __GNUC__
#define PUTCHAR_PROTOTYPE int __io_putchar(int ch)
#else
  #define PUTCHAR_PROTOTYPE int fputc(int ch, FILE *f)
#endif /* __GNUC__ */
PUTCHAR_PROTOTYPE
{
  HAL_UART_Transmit(&hlpuart1, (uint8_t *)&ch, 1, 0xFFFF);
  return ch;
}

/* USER CODE END 4 */

void Error_Handler(void)
{
  __disable_irq();
  while (1)
  {
  }
}
